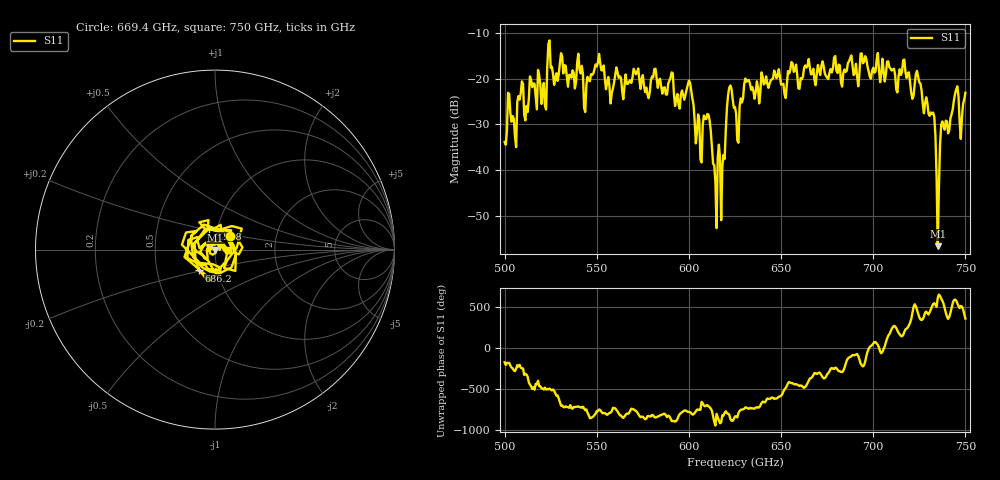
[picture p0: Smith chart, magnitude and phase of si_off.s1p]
!Created with skrf (http://scikit-rf.org).
# GHz S MA R 50.0
!freq magS11 angS11
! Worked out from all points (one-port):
!   401 points, 500 GHz to 750 GHz, reference 50 ohm
!   lowest |S11| = -56.5 dB at 735 GHz (marker M1), VSWR 1.00, Z = 50 - j0.143 ohm
!   |S11| at or under -10 dB: start of sweep to end of sweep
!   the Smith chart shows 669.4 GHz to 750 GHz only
!   S11 on the Smith chart (normalised r, x): 669.4 GHz: 1.17, +0.18; 686.2 GHz: 0.81, -0.19; 723.8 GHz: 0.91, +0.22; 750 GHz: 1.15, +0.00
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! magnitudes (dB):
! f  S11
! 500 GHz  -33.8
! 508.8 GHz  -23.2
! 521.2 GHz  -21.0
! 524.4 GHz  -11.7
! 531.2 GHz  -15.3
! 544.4 GHz  -21.3
! 550.6 GHz  -16.5
! 562.5 GHz  -19.6
! 590 GHz  -19.8
! 593.8 GHz  -23.4
! 600.6 GHz  -20.9
! 605.6 GHz  -29.0
! 610 GHz  -27.7
! 616.2 GHz  -34.4
! 618.8 GHz  -36.6
! 621.9 GHz  -22.0
! 625 GHz  -26.2
! 631.2 GHz  -20.7
! 656.2 GHz  -16.7
! 669.4 GHz  -18.9
! 686.2 GHz  -16.7
! 687.5 GHz  -15.6
! 718.8 GHz  -18.8
! 723.8 GHz  -18.3
! 732.5 GHz  -27.4
! 735 GHz  -56.5
! 738.1 GHz  -30.4
! 750 GHz  -23.1
